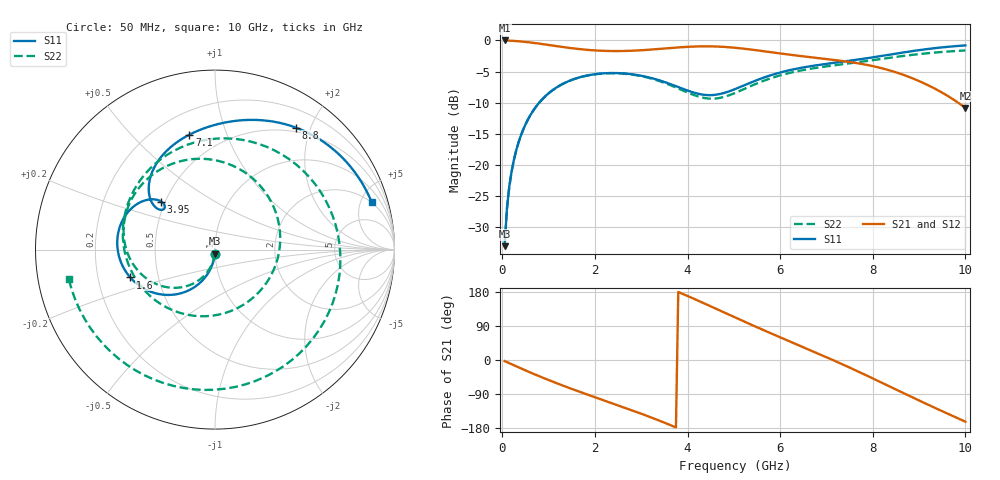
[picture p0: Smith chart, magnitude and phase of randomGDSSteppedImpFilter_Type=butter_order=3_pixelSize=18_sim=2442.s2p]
! freq	dB(S11)	phase(S11)	dB(S12)	phase(S12)
!  dB(S21)	phase(S21)	dB(S22)	phase(S22)
!S-par simulation data
#  GHz  S  DB  R 50
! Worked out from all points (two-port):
!   200 points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, 50 MHz to 10 GHz, reference 50 ohm
!   highest |S21| = 0.00 dB at 50 MHz (marker M1); lowest = -10.8 dB at 10 GHz (marker M2)
!   |S21| within 3 dB of the highest: start of sweep to 7.015 GHz
!   lowest |S11| = -33.0 dB at 50 MHz (marker M3), VSWR 1.05, Z = 49.8 - j2.22 ohm
!   |S11| at or under -10 dB: start of sweep to 796.3 MHz
!   |S22| runs from -33.0 to -1.6 dB; largest |S21 - S12| = 0
!   S11 on the Smith chart (normalised r, x): 50 MHz: 1.00, -0.04; 1.6 GHz: 0.34, -0.14; 3.95 GHz: 0.48, +0.30; 7.1 GHz: 0.33, +0.75; 8.8 GHz: 0.44, +1.78; 10 GHz: 1.94, +6.13
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0.05  -33.03 -92.6  -0.00 -2.8  -0.00 -2.8  -33.03 -93.1
0.1  -27.03 -95.3  -0.02 -5.6  -0.02 -5.6  -27.03 -96.3
0.2  -21.08 -100.5  -0.05 -11.1  -0.05 -11.1  -21.09 -102.6
0.45  -14.34 -112.9  -0.20 -24.7  -0.20 -24.7  -14.34 -117.7
1  -8.49 -138.0  -0.73 -52.9  -0.73 -52.9  -8.49 -148.9
1.6  -6.08 -161.8  -1.34 -80.7  -1.34 -80.7  -6.09 179.2
1.75  -5.77 -167.2  -1.45 -87.3  -1.45 -87.3  -5.78 171.5
2.7  -5.35 162.4  -1.68 -128.3  -1.68 -128.3  -5.39 120.3
3.4  -6.42 145.0  -1.36 -160.4  -1.36 -160.4  -6.54 74.2
3.95  -7.91 138.2  -1.05 171.6  -1.05 171.6  -8.20 25.8
4.45  -8.78 140.8  -0.95 144.4  -0.95 144.4  -9.33 -31.6
5.05  -7.74 144.5  -1.19 111.0  -1.19 111.0  -8.36 -103.8
5.9  -5.36 132.0  -1.99 65.1  -1.99 65.1  -5.83 176.6
6.3  -4.62 122.5  -2.38 44.3  -2.38 44.3  -5.05 144.5
6.7  -4.08 112.5  -2.74 23.3  -2.74 23.3  -4.49 112.8
7.1  -3.66 102.5  -3.08 2.0  -3.08 2.0  -4.06 80.2
7.45  -3.31 93.7  -3.41 -17.2  -3.41 -17.2  -3.72 50.6
7.8  -2.94 84.8  -3.83 -37.0  -3.83 -37.0  -3.37 20.0
8.35  -2.30 69.9  -4.78 -69.0  -4.78 -69.0  -2.80 -29.1
8.8  -1.77 56.5  -5.91 -95.3  -5.91 -95.3  -2.36 -68.6
9.35  -1.23 38.8  -7.78 -126.7  -7.78 -126.7  -1.94 -115.1
10  -0.80 16.9  -10.84 -162.7  -10.84 -162.7  -1.61 -168.5
